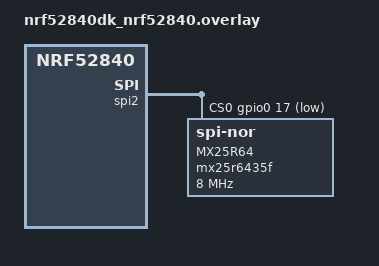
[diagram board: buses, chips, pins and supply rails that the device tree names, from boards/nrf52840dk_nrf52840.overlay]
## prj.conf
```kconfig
CONFIG_STDOUT_CONSOLE=y
CONFIG_FLASH=y
CONFIG_SPI=y

CONFIG_LOG=y
CONFIG_LOG_MODE_IMMEDIATE=y
CONFIG_FLASH_LOG_LEVEL_DBG=y
```

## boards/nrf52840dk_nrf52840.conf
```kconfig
#
# Copyright (c) 2019 Peter Bigot Consulting, LLC
# Copyright (c) 2019 Nordic Semiconductor ASA
#
# SPDX-License-Identifier: Apache-2.0
#

CONFIG_SPI_NOR=y
CONFIG_NORDIC_QSPI_NOR=n
CONFIG_SPI_NOR_SFDP_DEVICETREE=y
```

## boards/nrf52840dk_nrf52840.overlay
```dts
/delete-node/ &qspi;

&spi2 {
    compatible = "nordic,nrf-spim";
	status = "okay";
    cs-gpios = <&gpio0 17 GPIO_ACTIVE_LOW>;

    mx25r64: mx25r6435f@1 {
		compatible = "jedec,spi-nor";
		reg = <0>;
        spi-max-frequency = <8000000>;
        label = "MX25R64";
		/*sck-frequency = <8000000>;*/
		jedec-id = [c2 28 17];
		sfdp-bfp = [
			e5 20 f1 ff  ff ff ff 03  44 eb 08 6b  08 3b 04 bb
			ee ff ff ff  ff ff 00 ff  ff ff 00 ff  0c 20 0f 52
			10 d8 00 ff  23 72 f5 00  82 ed 04 cc  44 83 68 44
			30 b0 30 b0  f7 c4 d5 5c  00 be 29 ff  f0 d0 ff ff
		];
		size = <67108864>;
		has-dpd;
		t-enter-dpd = <10000>;
		t-exit-dpd = <35000>;
	};
};

/ {
	aliases {
		spi-flash0 = &mx25r64;
	};
};
```

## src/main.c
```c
/*
 * Copyright (c) 2016 Intel Corporation.
 *
 * SPDX-License-Identifier: Apache-2.0
 */

#include <zephyr/kernel.h>
#include <zephyr/drivers/flash.h>
#include <zephyr/device.h>
#include <zephyr/devicetree.h>
#include <stdio.h>
#include <string.h>

#if defined(CONFIG_BOARD_ADAFRUIT_FEATHER_STM32F405)
#define SPI_FLASH_TEST_REGION_OFFSET 0xf000
#elif defined(CONFIG_BOARD_ARTY_A7_ARM_DESIGNSTART_M1) || \
	defined(CONFIG_BOARD_ARTY_A7_ARM_DESIGNSTART_M3)
/* The FPGA bitstream is stored in the lower 536 sectors of the flash. */
#define SPI_FLASH_TEST_REGION_OFFSET \
	DT_REG_SIZE(DT_NODE_BY_FIXED_PARTITION_LABEL(fpga_bitstream))
#elif defined(CONFIG_BOARD_NPCX9M6F_EVB) || \
	defined(CONFIG_BOARD_NPCX7M6FB_EVB)
#define SPI_FLASH_TEST_REGION_OFFSET 0x7F000
#else
#define SPI_FLASH_TEST_REGION_OFFSET 0x0
#endif
#define SPI_FLASH_ERASE_SIZE        0x100000

void main(void)
{
	const uint8_t expected[] = { 0x55, 0xaa, 0x66, 0x99 };
	const size_t len = sizeof(expected);
	uint8_t buf[sizeof(expected)];
	const struct device *flash_dev;
	int rc;

	flash_dev = DEVICE_DT_GET(DT_ALIAS(spi_flash0));

	if (!device_is_ready(flash_dev)) {
		printk("%s: device not ready.\n", flash_dev->name);
		return;
	}

	printf("\n%s SPI flash testing\n", flash_dev->name);
	printf("==========================\n");


	/* Write protection needs to be disabled before each write or
	 * erase, since the flash component turns on write protection
	 * automatically after completion of write and erase
	 * operations.
	 */
	printf("\nTest 1: Flash erase\n");

	/* Full flash erase if SPI_FLASH_TEST_REGION_OFFSET = 0 and
	 * SPI_FLASH_SECTOR_SIZE = flash size
	 */
	rc = flash_erase(flash_dev, SPI_FLASH_TEST_REGION_OFFSET, SPI_FLASH_ERASE_SIZE);
	if (rc != 0) {
		printf("Flash erase failed! %d\n", rc);
	} else {
		printf("Flash erase succeeded!\n");
	}

	printf("\nTest 2: Flash write\n");

	printf("Attempting to write %zu bytes\n", len);
	rc = flash_write(flash_dev, SPI_FLASH_TEST_REGION_OFFSET, expected, len);
	if (rc != 0) {
		printf("Flash write failed! %d\n", rc);
		return;
	}

	memset(buf, 0, len);
	rc = flash_read(flash_dev, SPI_FLASH_TEST_REGION_OFFSET, buf, len);
	if (rc != 0) {
		printf("Flash read failed! %d\n", rc);
		return;
	}

	if (memcmp(expected, buf, len) == 0) {
		printf("Data read matches data written. Good!!\n");
	} else {
		const uint8_t *wp = expected;
		const uint8_t *rp = buf;
		const uint8_t *rpe = rp + len;

		printf("Data read does not match data written!!\n");
		while (rp < rpe) {
			printf("%08x wrote %02x read %02x %s\n",
			       (uint32_t)(SPI_FLASH_TEST_REGION_OFFSET + (rp - buf)),
			       *wp, *rp, (*rp == *wp) ? "match" : "MISMATCH");
			++rp;
			++wp;
		}
	}
}
```
